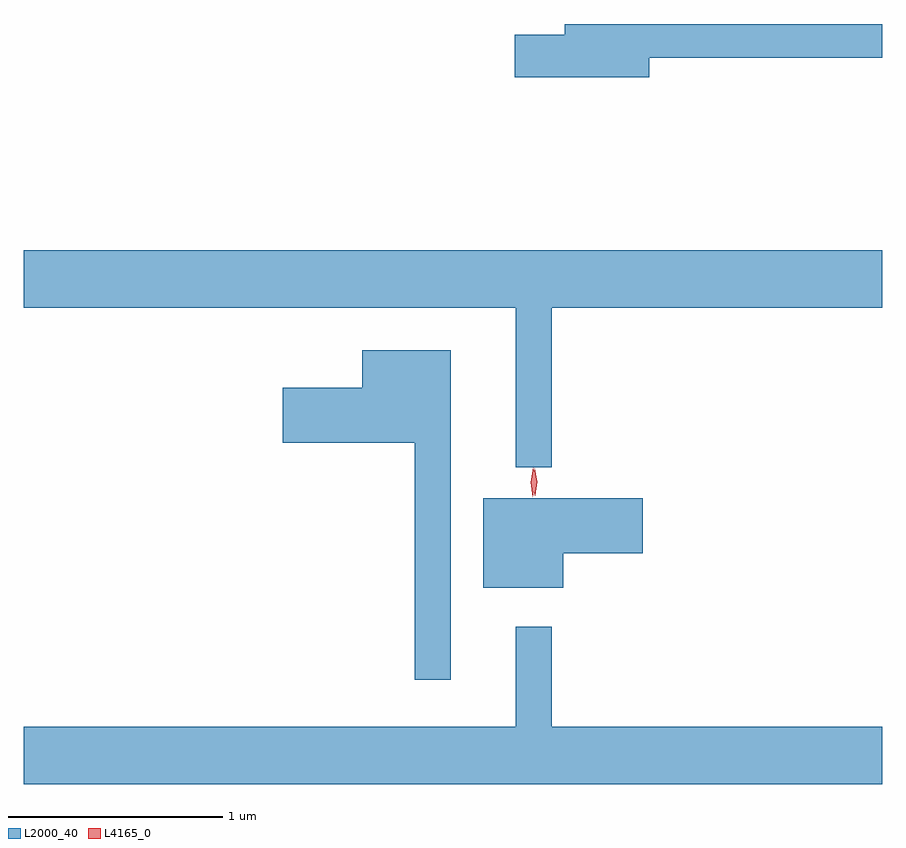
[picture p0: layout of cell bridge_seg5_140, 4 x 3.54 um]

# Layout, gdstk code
import gdstk
lib = gdstk.Library(unit=1e-6, precision=1e-09)
def P(c, l, *ps):  # polygons
    for p in ps: c.add(gdstk.Polygon(p, *l))
L2000_40 = (2000, 40)
L4165_0 = (4165, 0)

bridge_seg5_140 = lib.new_cell('bridge_seg5_140')
P(bridge_seg5_140, L2000_40, [(1085.394,1462.401),(1086.479,1462.401),(1086.479,1462.559),(1085.001,1462.559),(1085.001,1462.509),(1084.766,1462.509),(1084.766,1462.311),(1085.394,1462.311)],
  [(1084.939,1461.236),(1086.479,1461.236),(1086.479,1461.504),(1082.479,1461.504),(1082.479,1461.236),(1084.771,1461.236),(1084.771,1460.493),(1084.939,1460.493)],
  [(1084.469,1461.039),(1084.056,1461.039),(1084.056,1460.864),(1083.686,1460.864),(1083.686,1460.606),(1084.301,1460.606),(1084.301,1459.503),(1084.469,1459.503)],
  [(1084.994,1460.091),(1085.364,1460.091),(1085.364,1460.349),(1084.621,1460.349),(1084.621,1459.931),(1084.994,1459.931)],
  [(1086.479,1459.284),(1084.939,1459.284),(1084.939,1459.748),(1084.771,1459.748),(1084.771,1459.284),(1082.479,1459.284),(1082.479,1459.016),(1086.479,1459.016)])
P(bridge_seg5_140, L4165_0, [(1084.85,1460.354),(1084.842,1460.422),(1084.852,1460.49),(1084.852,1460.49),(1084.853,1460.49),(1084.862,1460.422),(1084.851,1460.354),(1084.851,1460.354)],
  [(1084.862,1460.36),(1084.861,1460.361),(1084.851,1460.424),(1084.86,1460.486),(1084.86,1460.487),(1084.861,1460.486),(1084.871,1460.424),(1084.862,1460.361)])

lib.write_gds('bridge_seg5_140.gds')
